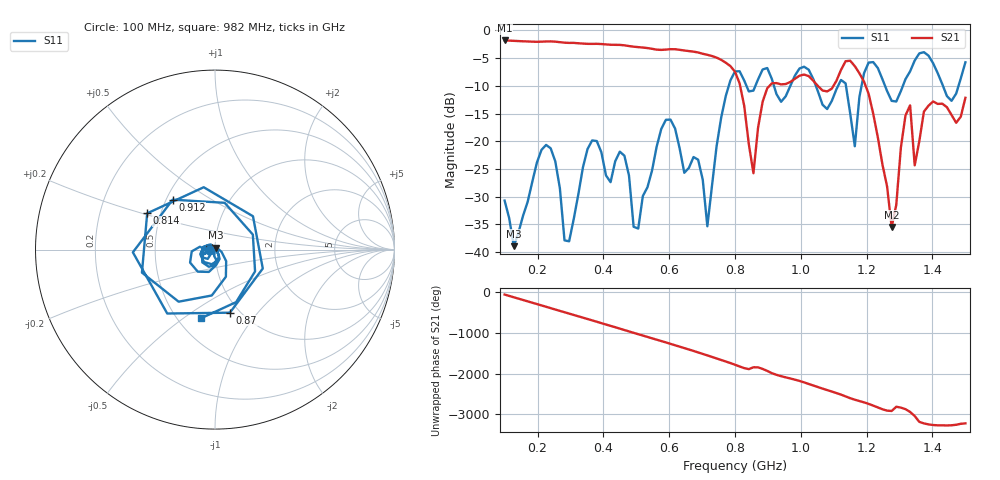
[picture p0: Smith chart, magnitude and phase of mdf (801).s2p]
! NanoVNA-App
! Date: 2025-09-25 15:44:39
! Start: 100MHz Stop: 1,5GHz Points: 101
! S-Parameter data: F S11 S21 S12 S22
# Hz S RI R 50
!  Frequency  S11_Real  S11_Imag  S21_Real  S21_Imag  S12_Real  S12_Imag  S22_Real  S22_Imag
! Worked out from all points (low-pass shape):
!   101 points, 100 MHz to 1.5 GHz, reference 50 ohm
!   highest |S21| = -1.80 dB at 100 MHz (marker M1); lowest = -35.5 dB at 1.276 GHz (marker M2)
!   |S21| within 3 dB of the highest: start of sweep to 739.2 MHz
!   lowest |S11| = -39.0 dB at 128 MHz (marker M3), VSWR 1.02, Z = 50.3 + j1.08 ohm
!   |S11| at or under -10 dB: start of sweep to 781.1 MHz; 918.3 MHz to 968.2 MHz (49.83 MHz wide, 5.28 % of centre); 1.046 GHz to 1.113 GHz (67.69 MHz wide, 6.27 % of centre) (the widest 3 of 7)
!   S12 and S22 are empty: the file has one direction only
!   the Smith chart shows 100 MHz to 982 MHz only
!   S11 on the Smith chart (normalised r, x): 100 MHz: 0.94, -0.01; 814 MHz: 0.42, +0.21; 870 MHz: 0.90, -0.73; 912 MHz: 0.54, +0.35; 982 MHz: 0.65, -0.58
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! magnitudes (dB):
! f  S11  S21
! 100 MHz  -30.7  -1.8
! 128 MHz  -39.0  -1.9
! 212 MHz  -21.6  -2.0
! 282 MHz  -37.9  -2.2
! 338 MHz  -24.7  -2.4
! 464 MHz  -22.6  -2.7
! 506 MHz  -35.8  -3.0
! 576 MHz  -17.8  -3.5
! 716 MHz  -35.4  -4.4
! 800 MHz  -7.4  -7.5
! 814 MHz  -7.4  -9.5
! 856 MHz  -10.9  -25.8
! 870 MHz  -8.8  -17.6
! 912 MHz  -8.8  -9.5
! 982 MHz  -8.2  -8.7
! 1.038 GHz  -8.8  -9.1
! 1.164 GHz  -20.9  -6.4
! 1.192 GHz  -7.7  -9.2
! 1.276 GHz  -12.7  -35.5
! 1.332 GHz  -7.4  -13.5
! 1.346 GHz  -5.4  -24.4
! 1.5 GHz  -5.8  -12.2
